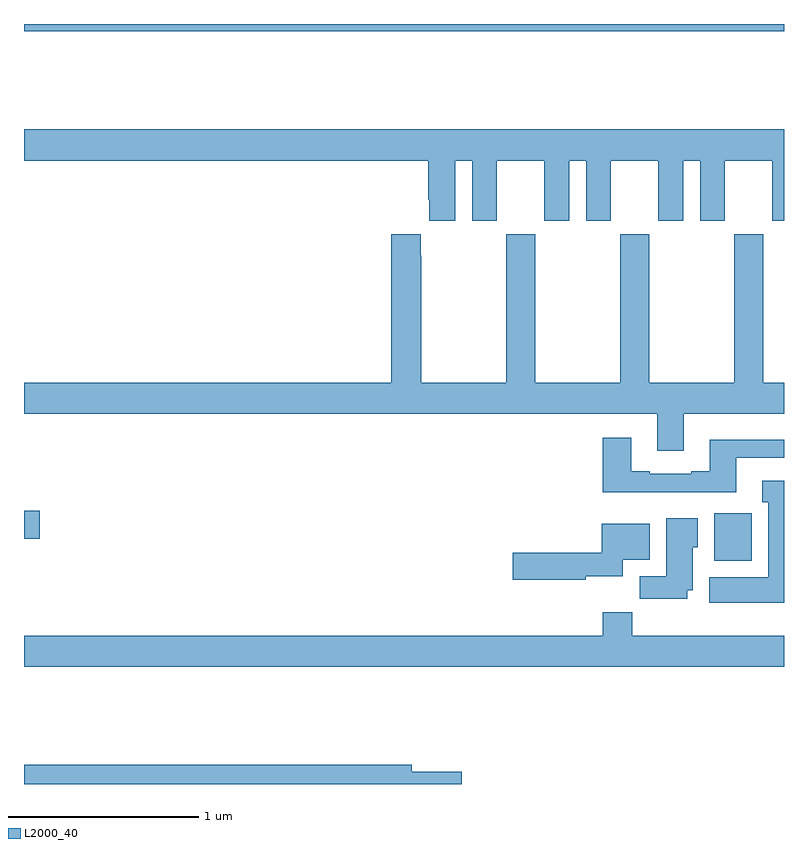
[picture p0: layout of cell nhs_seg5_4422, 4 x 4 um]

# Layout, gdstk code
import gdstk
lib = gdstk.Library(unit=1e-6, precision=1e-09)
def R(c, l, rs):  # rectangles x0, y0, x1, y1
    for r in rs: c.add(gdstk.rectangle(r[:2], r[2:], *l))
def P(c, l, *ps):  # polygons
    for p in ps: c.add(gdstk.Polygon(p, *l))
L2000_40 = (2000, 40)

nhs_seg5_4422 = lib.new_cell('nhs_seg5_4422')
R(nhs_seg5_4422, L2000_40, [(374.633,867.974,374.829,868.225), (371,868.091,371.083,868.238), (371,870.76,375,870.799)])
P(nhs_seg5_4422, L2000_40, [(373.27,870.08),(373.358,870.08),(373.358,869.763),(373.489,869.763),(373.489,870.08),(373.739,870.08),(373.739,869.763),(373.87,869.763),(373.87,870.08),(373.958,870.08),(373.958,869.763),(374.089,869.763),(374.089,870.08),(374.339,870.08),(374.339,869.763),(374.47,869.763),(374.47,870.08),(374.558,870.08),(374.558,869.763),(374.689,869.763),(374.689,870.08),(374.939,870.08),(374.939,869.763),(375,869.763),(375,870.244),(371,870.244),(371,870.08),(373.127,870.08),(373.127,869.875),(373.133,869.875),(373.133,869.763),(373.27,869.763)],
  [(374.473,868.748),(375,868.748),(375,868.912),(374.892,868.912),(374.892,869.692),(374.737,869.692),(374.737,868.912),(374.292,868.912),(374.292,869.692),(374.137,869.692),(374.137,868.912),(373.692,868.912),(373.692,869.692),(373.537,869.692),(373.537,868.912),(373.092,868.912),(373.092,869.579),(373.087,869.579),(373.087,869.692),(372.932,869.692),(372.932,868.912),(371,868.912),(371,868.748),(374.333,868.748),(374.333,868.554),(374.473,868.554)],
  [(374.749,868.515),(375,868.515),(375,868.612),(374.609,868.612),(374.609,868.444),(374.513,868.444),(374.513,868.431),(374.293,868.431),(374.293,868.444),(374.197,868.444),(374.197,868.621),(374.045,868.621),(374.045,868.334),(374.749,868.334)],
  [(375,868.396),(374.885,868.396),(374.885,868.283),(374.918,868.283),(374.918,867.886),(374.606,867.886),(374.606,867.752),(375,867.752)],
  [(374.491,867.818),(374.521,867.818),(374.521,868.044),(374.545,868.044),(374.545,868.198),(374.381,868.198),(374.381,867.892),(374.242,867.892),(374.242,867.774),(374.491,867.774)],
  [(373.956,867.893),(374.152,867.893),(374.152,867.98),(374.293,867.98),(374.293,868.168),(374.042,868.168),(374.042,868.016),(373.572,868.016),(373.572,867.874),(373.956,867.874)],
  [(375,867.58),(374.201,867.58),(374.201,867.704),(374.045,867.704),(374.045,867.58),(371,867.58),(371,867.416),(375,867.416)],
  [(373.303,866.864),(373.042,866.864),(373.042,866.9),(371,866.9),(371,866.799),(373.303,866.799)])

lib.write_gds('nhs_seg5_4422.gds')
